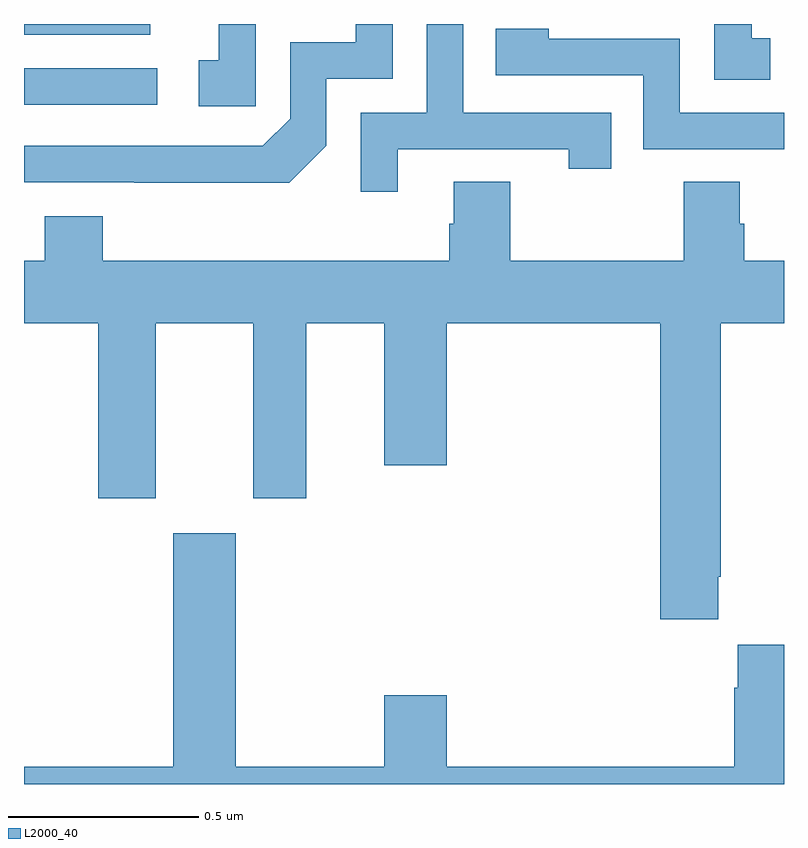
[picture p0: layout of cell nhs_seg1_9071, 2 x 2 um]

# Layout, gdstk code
import gdstk
lib = gdstk.Library(unit=1e-6, precision=1e-09)
def R(c, l, rs):  # rectangles x0, y0, x1, y1
    for r in rs: c.add(gdstk.rectangle(r[:2], r[2:], *l))
def P(c, l, *ps):  # polygons
    for p in ps: c.add(gdstk.Polygon(p, *l))
L2000_40 = (2000, 40)

nhs_seg1_9071 = lib.new_cell('nhs_seg1_9071')
R(nhs_seg1_9071, L2000_40, [(224,538.986,224.35,539.082), (224,539.171,224.332,539.199)])
P(nhs_seg1_9071, L2000_40, [(224.61,539.199),(224.513,539.199),(224.513,539.103),(224.46,539.103),(224.46,538.983),(224.61,538.983)],
  [(225.964,539.161),(225.915,539.161),(225.915,539.199),(225.816,539.199),(225.816,539.052),(225.964,539.052)],
  [(224.983,538.869),(225.434,538.869),(225.434,538.818),(225.545,538.818),(225.545,538.965),(225.156,538.965),(225.156,539.199),(225.06,539.199),(225.06,538.965),(224.886,538.965),(224.886,538.758),(224.983,538.758)],
  [(224.796,538.878),(224.796,539.055),(224.97,539.055),(224.97,539.199),(224.873,539.199),(224.873,539.151),(224.7,539.151),(224.7,538.95),(224.628,538.878),(224,538.878),(224,538.782),(224.29,538.782),(224.29,538.781),(224.698,538.781)],
  [(226,538.965),(225.726,538.965),(225.726,539.16),(225.381,539.16),(225.381,539.187),(225.241,539.187),(225.241,539.064),(225.63,539.064),(225.63,538.869),(226,538.869)],
  [(225.827,537.745),(225.834,537.745),(225.834,538.412),(226,538.412),(226,538.576),(225.896,538.576),(225.896,538.674),(225.883,538.674),(225.883,538.784),(225.736,538.784),(225.736,538.576),(225.279,538.576),(225.279,538.784),(225.131,538.784),(225.131,538.674),(225.119,538.674),(225.119,538.576),(224.207,538.576),(224.207,538.693),(224.054,538.693),(224.054,538.576),(224,538.576),(224,538.412),(224.195,538.412),(224.195,537.951),(224.347,537.951),(224.347,538.412),(224.603,538.412),(224.603,537.951),(224.743,537.951),(224.743,538.412),(224.948,538.412),(224.948,538.038),(225.112,538.038),(225.112,538.412),(225.674,538.412),(225.674,537.633),(225.827,537.633)],
  [(226,537.565),(225.878,537.565),(225.878,537.452),(225.869,537.452),(225.869,537.244),(225.112,537.244),(225.112,537.433),(224.948,537.433),(224.948,537.244),(224.557,537.244),(224.557,537.859),(224.393,537.859),(224.393,537.244),(224,537.244),(224,537.199),(226,537.199)])

lib.write_gds('nhs_seg1_9071.gds')
